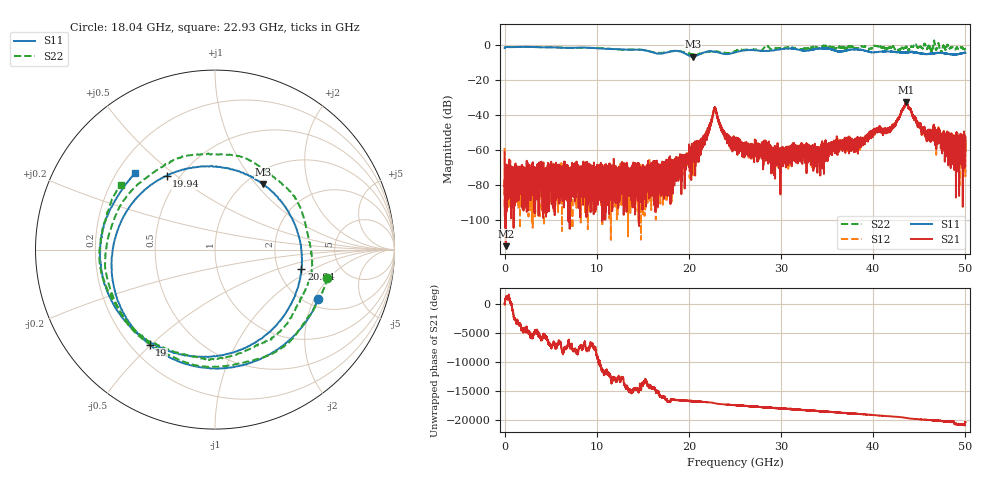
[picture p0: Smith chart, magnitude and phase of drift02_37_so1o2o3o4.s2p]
!Created with skrf (http://scikit-rf.org).
# Hz S RI R 50.0
!freq ReS11 ImS11 ReS21 ImS21 ReS12 ImS12 ReS22 ImS22
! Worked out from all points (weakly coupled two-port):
!   10001 points, 300 kHz to 50 GHz, reference 50 ohm
!   highest |S21| = -32.80 dB at 43.59 GHz (marker M1); lowest = -114.7 dB at 125.3 MHz (marker M2)
!   lowest |S11| = -6.9 dB at 20.44 GHz (marker M3), VSWR 2.64, Z = 59.6 + j54.3 ohm
!   |S11| at or under -10 dB: nowhere
!   |S22| runs from -5.7 to 2.3 dB; largest |S21 - S12| = 0.003
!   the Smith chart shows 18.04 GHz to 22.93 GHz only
!   S11 on the Smith chart (normalised r, x): 18.04 GHz: 2.30, -2.15; 19 GHz: 0.27, -0.49; 19.94 GHz: 0.43, +0.46; 20.94 GHz: 2.70, -0.76; 22.93 GHz: 0.27, +0.38
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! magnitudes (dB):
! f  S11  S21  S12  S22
! 300 kHz  -2.1  -61.3  -58.8  -2.1
! 125.3 MHz  -1.5  -114.7  -75.9  -1.5
! 260.3 MHz  -1.4  -74.9  -81.3  -1.4
! 8.335 GHz  -1.7  -81.4  -75.7  -1.9
! 16.67 GHz  -5.2  -74.6  -77.4  -4.7
! 18.04 GHz  -3.9  -75.8  -79.1  -3.9
! 19 GHz  -3.8  -68.0  -75.0  -3.9
! 19.94 GHz  -6.2  -65.4  -64.5  -5.2
! 20.44 GHz  -6.9  -64.2  -67.7  -5.4
! 20.94 GHz  -6.1  -63.9  -61.8  -5.6
! 22.93 GHz  -4.2  -37.7  -37.5  -3.9
! 23.76 GHz  -5.3  -49.4  -50.4  -4.6
! 25 GHz  -4.5  -55.3  -54.9  -3.9
! 29.93 GHz  -2.7  -85.3  -63.1  -2.0
! 33.34 GHz  -3.0  -64.5  -69.8  -1.6
! 37.96 GHz  -2.8  -56.6  -55.8  -1.9
! 40.36 GHz  -4.3  -49.6  -48.4  -0.9
! 41.67 GHz  -4.0  -48.4  -48.4  -1.9
! 43.59 GHz  -4.4  -32.8  -33.4  -1.5
! 45.85 GHz  -5.4  -49.8  -52.1  -2.7
! 48.63 GHz  -5.7  -53.0  -55.1  -1.5
! 50 GHz  -4.7  -52.6  -53.2  -2.7
